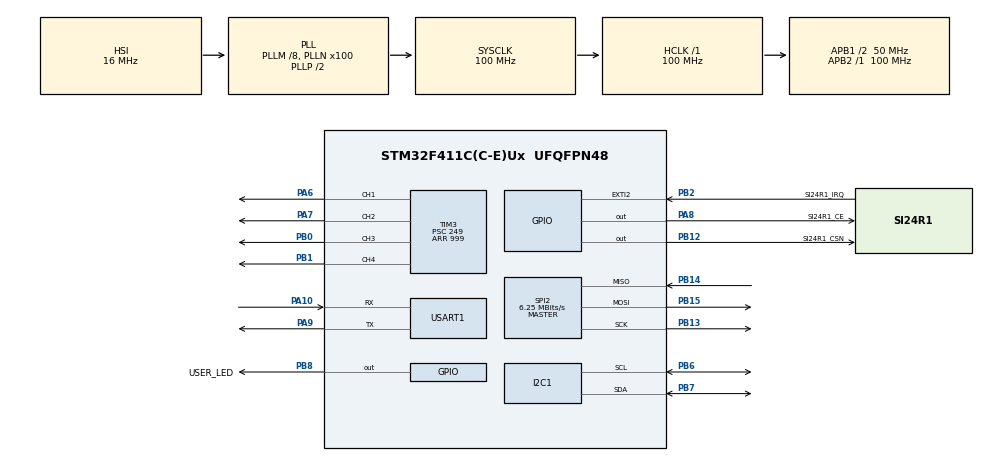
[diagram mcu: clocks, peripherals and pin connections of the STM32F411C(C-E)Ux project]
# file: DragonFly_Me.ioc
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FREERTOS.Tasks01=defaultTask,1,256,StartDefaultTask,Default,NULL,Dynamic,NULL,NULL;myTask02,-2,128,StartTask02,Default,NULL,Dynamic,NULL,NULL;myTask03,-2,256,StartTask03,Default,NULL,Dynamic,NULL,NULL;myTask04,-2,256,StartTask04,Default,NULL,Dynamic,NULL,NULL
FREERTOS.configCHECK_FOR_STACK_OVERFLOW=1
FREERTOS.configUSE_COUNTING_SEMAPHORES=1
FREERTOS.configUSE_RECURSIVE_MUTEXES=1
I2C1.I2C_Mode=I2C_Fast
Mcu.Family=STM32F4
Mcu.Name=STM32F411C(C-E)Ux
Mcu.Package=UFQFPN48
NVIC.EXTI2_IRQn=true\:5\:0\:true\:false\:true\:true\:true\:true\:true
NVIC.PriorityGroup=NVIC_PRIORITYGROUP_4
NVIC.TIM1_UP_TIM10_IRQn=true\:15\:0\:false\:false\:true\:false\:false\:true\:true
NVIC.TimeBase=TIM1_UP_TIM10_IRQn
NVIC.TimeBaseIP=TIM10
NVIC.USART1_IRQn=true\:6\:0\:true\:false\:true\:true\:true\:true\:true
PA10.Mode=Asynchronous
PA10.Signal=USART1_RX
PA13.Mode=Serial_Wire
PA13.Signal=SYS_JTMS-SWDIO
PA14.Mode=Serial_Wire
PA14.Signal=SYS_JTCK-SWCLK
PA6.Signal=S_TIM3_CH1
PA7.Signal=S_TIM3_CH2
PA8.GPIO_Label=SI24R1_CE
PA8.GPIO_Speed=GPIO_SPEED_FREQ_HIGH
PA8.Signal=GPIO_Output
PA9.Mode=Asynchronous
PA9.Signal=USART1_TX
PB0.Signal=S_TIM3_CH3
PB1.Signal=S_TIM3_CH4
PB12.GPIO_Label=SI24R1_CSN
PB12.GPIO_Speed=GPIO_SPEED_FREQ_VERY_HIGH
PB12.PinState=GPIO_PIN_SET
PB12.Signal=GPIO_Output
PB13.Mode=Full_Duplex_Master
PB13.Signal=SPI2_SCK
PB14.Mode=Full_Duplex_Master
PB14.Signal=SPI2_MISO
PB15.Mode=Full_Duplex_Master
PB15.Signal=SPI2_MOSI
PB2.GPIO_Label=SI24R1_IRQ
PB2.GPIO_ModeDefaultEXTI=GPIO_MODE_IT_FALLING
PB2.GPIO_PuPd=GPIO_NOPULL
PB2.Signal=GPXTI2
PB6.Mode=I2C
PB6.Signal=I2C1_SCL
PB7.Mode=I2C
PB7.Signal=I2C1_SDA
PB8.GPIO_Label=USER_LED
PB8.Signal=GPIO_Output
PH0\ -\ OSC_IN.Mode=HSE-External-Oscillator
PH0\ -\ OSC_IN.Signal=RCC_OSC_IN
PH1\ -\ OSC_OUT.Mode=HSE-External-Oscillator
PH1\ -\ OSC_OUT.Signal=RCC_OSC_OUT
ProjectManager.HeapSize=0x200
ProjectManager.StackSize=0x400
ProjectManager.TargetToolchain=MDK-ARM V5.27
RCC.48MHZClocksFreq_Value=50000000
RCC.AHBFreq_Value=100000000
RCC.APB1CLKDivider=RCC_HCLK_DIV2
RCC.APB1Freq_Value=50000000
RCC.APB1TimFreq_Value=100000000
RCC.APB2Freq_Value=100000000
RCC.APB2TimFreq_Value=100000000
RCC.CortexFreq_Value=100000000
RCC.HCLKFreq_Value=100000000
RCC.HSE_VALUE=25000000
RCC.HSI_VALUE=16000000
RCC.LSE_VALUE=32768
RCC.PLLM=8
RCC.PLLN=100
RCC.SYSCLKFreq_VALUE=100000000
RCC.SYSCLKSource=RCC_SYSCLKSOURCE_PLLCLK
RCC.VCOOutputFreq_Value=200000000
SH.S_TIM3_CH1.0=TIM3_CH1,PWM Generation1 CH1
SH.S_TIM3_CH2.0=TIM3_CH2,PWM Generation2 CH2
SH.S_TIM3_CH3.0=TIM3_CH3,PWM Generation3 CH3
SH.S_TIM3_CH4.0=TIM3_CH4,PWM Generation4 CH4
SPI2.BaudRatePrescaler=SPI_BAUDRATEPRESCALER_8
SPI2.CalculateBaudRate=6.25 MBits/s
SPI2.Direction=SPI_DIRECTION_2LINES
SPI2.Mode=SPI_MODE_MASTER
SPI2.VirtualType=VM_MASTER
TIM3.Channel-PWM\ Generation1\ CH1=TIM_CHANNEL_1
TIM3.Channel-PWM\ Generation2\ CH2=TIM_CHANNEL_2
TIM3.Channel-PWM\ Generation3\ CH3=TIM_CHANNEL_3
TIM3.Channel-PWM\ Generation4\ CH4=TIM_CHANNEL_4
TIM3.Period=999
TIM3.Prescaler=249
USART1.VirtualMode=VM_ASYNC
VP_FREERTOS_VS_CMSIS_V1.Mode=CMSIS_V1
VP_SYS_VS_tim10.Mode=TIM10
VP_TIM3_VS_ClockSourceINT.Mode=Internal
board=custom

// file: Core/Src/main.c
/* USER CODE BEGIN Header */
/**
  ******************************************************************************
  * @file           : main.c
  * @brief          : Main program body
  ******************************************************************************
  * @attention
  *
  * Copyright (c) 2026 STMicroelectronics.
  * All rights reserved.
  *
  * This software is licensed under terms that can be found in the LICENSE file
  * in the root directory of this software component.
  * If no LICENSE file comes with this software, it is provided AS-IS.
  *
  ******************************************************************************
  */
/* USER CODE END Header */
#include "main.h"
#include "cmsis_os.h"
#include "i2c.h"
#include "spi.h"
#include "tim.h"
#include "usart.h"
#include "gpio.h"

/* USER CODE BEGIN Includes */
#include "system.h"
#include "led.h"
#include "motor.h"
#include "imu.h"
#include "comm.h"
#include "control.h"
#include "si24r1.h"
/* USER CODE END Includes */

void SystemClock_Config(void);
void MX_FREERTOS_Init(void);

int main(void)
{

  /* MCU Configuration--------------------------------------------------------*/

  /* Reset of all peripherals, Initializes the Flash interface and the Systick. */
  HAL_Init();

  /* Configure the system clock */
  SystemClock_Config();

  /* Initialize all configured peripherals */
  MX_GPIO_Init();
  MX_TIM3_Init();
  MX_USART1_UART_Init();
  MX_I2C1_Init();
  MX_SPI2_Init();
  /* USER CODE BEGIN 2 */
  System_Init();
  Motor_Init();
  IMU_Init();
  Comm_Init();
  Control_Init();
  System_SetState(SYSTEM_STATE_STANDBY);
  SI24R1_Init();

  /* USER CODE END 2 */

  /* Call init function for freertos objects (in cmsis_os2.c) */
  MX_FREERTOS_Init();

  /* Start scheduler */
  osKernelStart();

  /* We should never get here as control is now taken by the scheduler */

  /* Infinite loop */
  while (1)
  {

  }
}

void SystemClock_Config(void)
{
  RCC_OscInitTypeDef RCC_OscInitStruct = {0};
  RCC_ClkInitTypeDef RCC_ClkInitStruct = {0};

  /** Configure the main internal regulator output voltage
  */
  __HAL_RCC_PWR_CLK_ENABLE();
  __HAL_PWR_VOLTAGESCALING_CONFIG(PWR_REGULATOR_VOLTAGE_SCALE1);

  /** Initializes the RCC Oscillators according to the specified parameters
  * in the RCC_OscInitTypeDef structure.
  */
  RCC_OscInitStruct.OscillatorType = RCC_OSCILLATORTYPE_HSI;
  RCC_OscInitStruct.HSIState = RCC_HSI_ON;
  RCC_OscInitStruct.HSICalibrationValue = RCC_HSICALIBRATION_DEFAULT;
  RCC_OscInitStruct.PLL.PLLState = RCC_PLL_ON;
  RCC_OscInitStruct.PLL.PLLSource = RCC_PLLSOURCE_HSI;
  RCC_OscInitStruct.PLL.PLLM = 8;
  RCC_OscInitStruct.PLL.PLLN = 100;
  RCC_OscInitStruct.PLL.PLLP = RCC_PLLP_DIV2;
  RCC_OscInitStruct.PLL.PLLQ = 4;
  if (HAL_RCC_OscConfig(&RCC_OscInitStruct) != HAL_OK)
  {
    Error_Handler();
  }

  /** Initializes the CPU, AHB and APB buses clocks
  */
  RCC_ClkInitStruct.ClockType = RCC_CLOCKTYPE_HCLK|RCC_CLOCKTYPE_SYSCLK
                              |RCC_CLOCKTYPE_PCLK1|RCC_CLOCKTYPE_PCLK2;
  RCC_ClkInitStruct.SYSCLKSource = RCC_SYSCLKSOURCE_PLLCLK;
  RCC_ClkInitStruct.AHBCLKDivider = RCC_SYSCLK_DIV1;
  RCC_ClkInitStruct.APB1CLKDivider = RCC_HCLK_DIV2;
  RCC_ClkInitStruct.APB2CLKDivider = RCC_HCLK_DIV1;

  if (HAL_RCC_ClockConfig(&RCC_ClkInitStruct, FLASH_LATENCY_3) != HAL_OK)
  {
    Error_Handler();
  }
}

void HAL_TIM_PeriodElapsedCallback(TIM_HandleTypeDef *htim)
{
  if (htim->Instance == TIM10)
  {
    HAL_IncTick();
  }
}

void Error_Handler(void)
{
  __disable_irq();
  while (1)
  {
  }
}

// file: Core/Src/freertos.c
/* USER CODE BEGIN Header */
/**
  ******************************************************************************
  * File Name          : freertos.c
  * Description        : Code for freertos applications
  ******************************************************************************
  * @attention
  *
  * Copyright (c) 2026 STMicroelectronics.
  * All rights reserved.
  *
  * This software is licensed under terms that can be found in the LICENSE file
  * in the root directory of this software component.
  * If no LICENSE file comes with this software, it is provided AS-IS.
  *
  ******************************************************************************
  */
/* USER CODE END Header */

#include "FreeRTOS.h"
#include "task.h"
#include "main.h"
#include "cmsis_os.h"

/* USER CODE BEGIN Includes */
#include "system.h"
#include "led.h"
#include "motor.h"
#include "imu.h"
#include "comm.h"
#include "control.h"
#include "ANO_DT.h"
/* USER CODE END Includes */

osThreadId defaultTaskHandle;
osThreadId myTask02Handle;
osThreadId myTask03Handle;
osThreadId myTask04Handle;

void StartDefaultTask(void const * argument);
void StartTask02(void const * argument);
void StartTask03(void const * argument);
void StartTask04(void const * argument);

void MX_FREERTOS_Init(void); /* (MISRA C 2004 rule 8.1) */

/* GetIdleTaskMemory prototype (linked to static allocation support) */
void vApplicationGetIdleTaskMemory( StaticTask_t **ppxIdleTaskTCBBuffer, StackType_t **ppxIdleTaskStackBuffer, uint32_t *pulIdleTaskStackSize );

/* Hook prototypes */
void vApplicationStackOverflowHook(xTaskHandle xTask, signed char *pcTaskName);

/* USER CODE BEGIN 4 */
__weak void vApplicationStackOverflowHook(xTaskHandle xTask, signed char *pcTaskName)
{
   /* Run time stack overflow checking is performed if
   configCHECK_FOR_STACK_OVERFLOW is defined to 1 or 2. This hook function is
   called if a stack overflow is detected. */
}
/* USER CODE END 4 */

/* USER CODE BEGIN GET_IDLE_TASK_MEMORY */
static StaticTask_t xIdleTaskTCBBuffer;
static StackType_t xIdleStack[configMINIMAL_STACK_SIZE];

void vApplicationGetIdleTaskMemory( StaticTask_t **ppxIdleTaskTCBBuffer, StackType_t **ppxIdleTaskStackBuffer, uint32_t *pulIdleTaskStackSize )
{
  *ppxIdleTaskTCBBuffer = &xIdleTaskTCBBuffer;
  *ppxIdleTaskStackBuffer = &xIdleStack[0];
  *pulIdleTaskStackSize = configMINIMAL_STACK_SIZE;
  /* place for user code */
}
/* USER CODE END GET_IDLE_TASK_MEMORY */

void MX_FREERTOS_Init(void) {

  /* Create the thread(s) */
  /* definition and creation of defaultTask */
  osThreadDef(defaultTask, StartDefaultTask, osPriorityAboveNormal, 0, 256);
  defaultTaskHandle = osThreadCreate(osThread(defaultTask), NULL);

  /* definition and creation of myTask02 */
  osThreadDef(myTask02, StartTask02, osPriorityLow, 0, 128);
  myTask02Handle = osThreadCreate(osThread(myTask02), NULL);

  /* definition and creation of myTask03 */
  osThreadDef(myTask03, StartTask03, osPriorityLow, 0, 256);
  myTask03Handle = osThreadCreate(osThread(myTask03), NULL);

  /* definition and creation of myTask04 */
  osThreadDef(myTask04, StartTask04, osPriorityLow, 0, 256);
  myTask04Handle = osThreadCreate(osThread(myTask04), NULL);

}

void StartDefaultTask(void const * argument)
{
  /* USER CODE BEGIN StartDefaultTask */
  /* 飞控主任务：传感器 + 姿态解算 + PID 控制(1ms) */
  for(;;)
  {
    System_Update();
    IMU_Update();
    //RC_Update();        /* SI24R1_ReceivePacket → 解析 → 写 g_rcData */
    Control_Update();
    osDelay(1);
  }
  /* USER CODE END StartDefaultTask */
}

void StartTask02(void const * argument)
{
  /* USER CODE BEGIN StartTask02 */
  LED_Init();
  LED_Task(argument);
  /* USER CODE END StartTask02 */
}

void StartTask03(void const * argument)
{
  /* USER CODE BEGIN StartTask03 */
  Comm_Task(argument);
  /* USER CODE END StartTask03 */
}

void StartTask04(void const * argument)
{
  /* USER CODE BEGIN StartTask04 */
  /* 匿名协议：USART1 上报姿态 / IMU / 电机 PWM，避免塞进 1ms 控制环 */
  for(;;)
  {
    //ANO_DT_Data_Exchange();
    osDelay(10);
  }
  /* USER CODE END StartTask04 */
}
